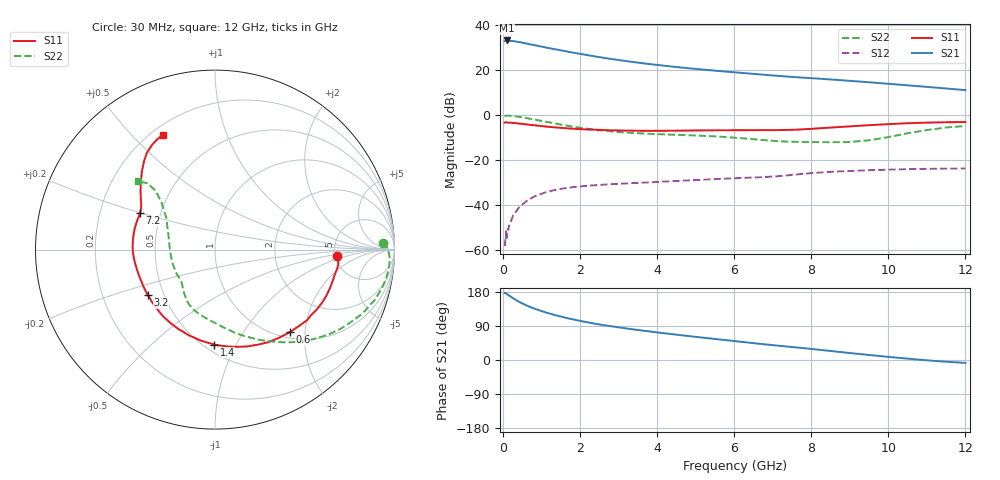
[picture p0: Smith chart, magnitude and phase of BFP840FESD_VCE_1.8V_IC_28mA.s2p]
! Infineon Technologies  Discrete & RF Semiconductors
! BFP840FESD
! VCE =  1.8 V,  IC =  28 mA
! Common Emitter S-Parameters:  May 2012
# GHz  S  MA  R  50
!  f  S11  S21  S12  S22
! GHz  MAG  ANG  MAG  ANG  MAG  ANG  MAG  ANG
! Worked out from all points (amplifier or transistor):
!   103 points, 30 MHz to 12 GHz, reference 50 ohm
!   highest |S21| = 33.3 dB at 80 MHz (marker M1)
!   |S21| within 3 dB of that: start of sweep to 1.061 GHz
!   unconditionally stable (mu >= 1): 5.464 GHz to end of sweep
!   at 400 MHz: K = 0.18, MSG = 36.9 dB, |S12| = -41.3 dB
!   at 3.7 GHz: K = 0.82, MSG = 26.5 dB, |S12| = -30.0 dB
!   at 12 GHz: K = 1.08, MAG = 15.7 dB, |S12| = -23.8 dB
!   S11 on the Smith chart (normalised r, x): 30 MHz: 5.22, -0.65; 600 MHz: 1.11, -1.67; 1.4 GHz: 0.56, -0.82; 3.2 GHz: 0.41, -0.26; 7.2 GHz: 0.38, +0.20; 12 GHz: 0.25, +0.61
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0.03  0.6826 -2.8  44.58 176.8  0.0012 97.9  0.9357 2.4
0.04  0.6846 -3.7  44.92 176.3  0.0013 97.3  0.9492 1.5
0.05  0.6879 -4.4  45.39 177.0  0.0017 132.1  0.9572 0.8
0.08  0.6905 -7.4  46.19 174.8  0.0018 86.6  0.9709 -1.8
0.13  0.6809 -12.2  45.15 171.2  0.0028 86.8  0.9745 -5.5
0.25  0.6715 -22.4  44.65 163.0  0.0058 78.0  0.9563 -12.5
0.35  0.6576 -30.6  43.15 156.6  0.0076 75.3  0.9325 -17.6
0.45  0.6464 -37.5  42.13 151.2  0.0096 72.5  0.9034 -22.1
0.6  0.6206 -47.9  39.43 144.0  0.0121 68.5  0.8559 -28.4
0.9  0.581 -65.7  34.94 132.2  0.0167 61.0  0.7683 -39.1
1.1  0.5569 -76.5  32.18 125.5  0.0191 56.5  0.7131 -45.5
1.4  0.5289 -90.6  28.77 117.0  0.0219 51.3  0.638 -54.0
1.7  0.5039 -103.4  25.71 109.5  0.0242 47.6  0.5735 -61.9
2.1  0.4828 -117.7  22.37 101.0  0.0263 43.7  0.5086 -71.2
2.6  0.4648 -132.2  18.96 92.0  0.0282 40.5  0.452 -80.7
3.2  0.4515 -146.0  15.99 83.1  0.03 39.0  0.4079 -90.3
4.1  0.4478 -162.5  12.85 71.5  0.0328 38.4  0.3743 -101.6
6.1  0.4608 170.0  8.865 48.8  0.0395 38.5  0.3097 -122.3
7.2  0.4649 154.1  7.424 37.1  0.0441 41.2  0.2611 -135.5
8.5  0.5279 141.8  6.238 23.8  0.0545 37.7  0.2488 -164.4
10.5  0.6598 125.1  4.62 3.6  0.0625 29.4  0.3939 138.9
12  0.7009 114.6  3.608 -7.6  0.0644 25.8  0.5739 138.5
